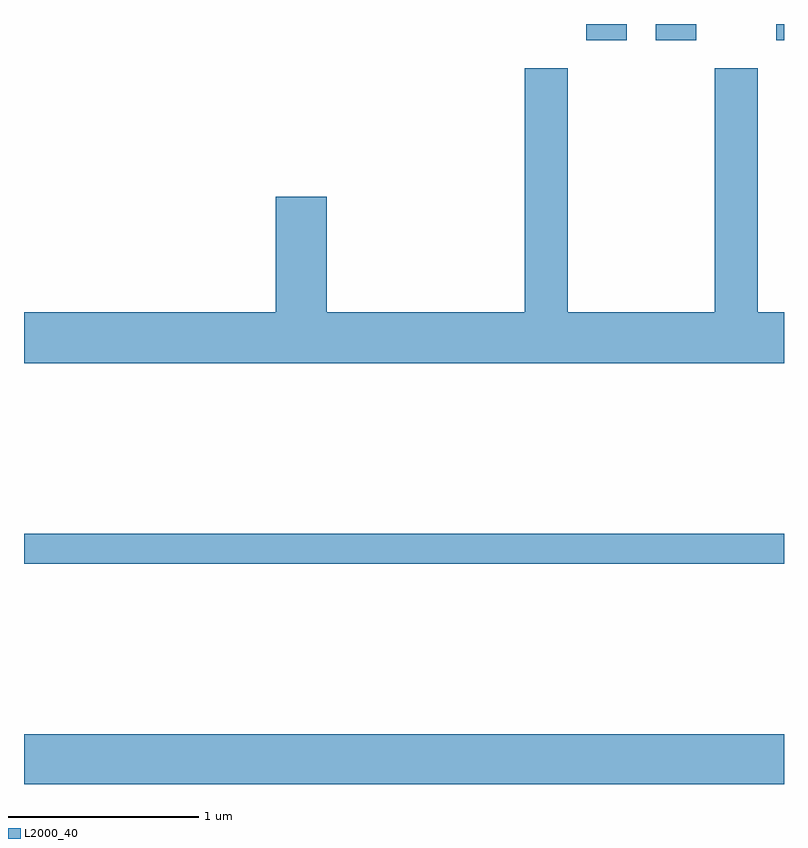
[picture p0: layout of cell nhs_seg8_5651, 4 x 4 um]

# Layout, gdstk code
import gdstk
lib = gdstk.Library(unit=1e-6, precision=1e-09)
def R(c, l, rs):  # rectangles x0, y0, x1, y1
    for r in rs: c.add(gdstk.rectangle(r[:2], r[2:], *l))
def P(c, l, *ps):  # polygons
    for p in ps: c.add(gdstk.Polygon(p, *l))
L2000_40 = (2000, 40)

nhs_seg8_5651 = lib.new_cell('nhs_seg8_5651')
R(nhs_seg8_5651, L2000_40, [(353.611,1916.342,357.611,1916.604), (353.611,1917.501,357.611,1917.659), (356.571,1920.256,356.784,1920.342), (356.936,1920.256,357.149,1920.342), (357.571,1920.256,357.611,1920.342)])
P(nhs_seg8_5651, L2000_40, [(357.611,1918.824),(357.474,1918.824),(357.474,1920.109),(357.246,1920.109),(357.246,1918.824),(356.474,1918.824),(356.474,1920.109),(356.246,1920.109),(356.246,1918.824),(355.204,1918.824),(355.204,1919.434),(354.936,1919.434),(354.936,1918.824),(353.611,1918.824),(353.611,1918.556),(357.611,1918.556)])

lib.write_gds('nhs_seg8_5651.gds')
